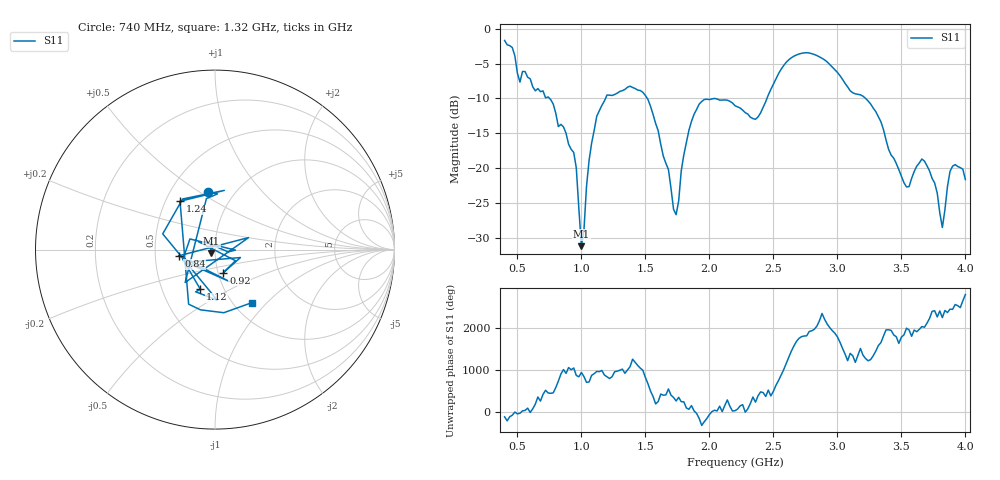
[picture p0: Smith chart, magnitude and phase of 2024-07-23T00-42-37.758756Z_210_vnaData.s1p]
!Created with skrf (http://scikit-rf.org).
# Hz S RI R 50.0
!freq ReS11 ImS11
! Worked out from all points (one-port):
!   181 points, 400 MHz to 4 GHz, reference 50 ohm
!   lowest |S11| = -31.2 dB at 1 GHz (marker M1), VSWR 1.06, Z = 48 - j1.89 ohm
!   |S11| at or under -10 dB: 751.6 MHz to 1.188 GHz (436.5 MHz wide, 45 % of centre); 1.515 GHz to 2.038 GHz (523.4 MHz wide, 29.5 % of centre); 3.221 GHz to end of sweep (the widest 3 of 4)
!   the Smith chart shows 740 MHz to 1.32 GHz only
!   S11 on the Smith chart (normalised r, x): 740 MHz: 0.76, +0.55; 840 MHz: 0.66, -0.05; 920 MHz: 1.06, -0.28; 1.12 GHz: 0.78, -0.36; 1.24 GHz: 0.59, +0.36; 1.32 GHz: 1.21, -0.82
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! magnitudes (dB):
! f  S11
! 400 MHz  -1.7
! 520 MHz  -7.7
! 740 MHz  -9.8
! 840 MHz  -13.7
! 860 MHz  -14.1
! 920 MHz  -17.3
! 960 MHz  -19.9
! 1 GHz  -31.2
! 1.06 GHz  -18.9
! 1.12 GHz  -12.5
! 1.24 GHz  -9.6
! 1.3 GHz  -9.0
! 1.32 GHz  -8.9
! 1.52 GHz  -10.1
! 1.72 GHz  -25.9
! 1.76 GHz  -24.7
! 1.84 GHz  -14.6
! 1.92 GHz  -10.8
! 2.2 GHz  -11.0
! 2.36 GHz  -13.0
! 2.66 GHz  -3.9
! 3.1 GHz  -8.9
! 3.3 GHz  -11.9
! 3.56 GHz  -22.6
! 3.68 GHz  -19.0
! 3.82 GHz  -28.5
! 3.88 GHz  -20.4
! 4 GHz  -21.6
